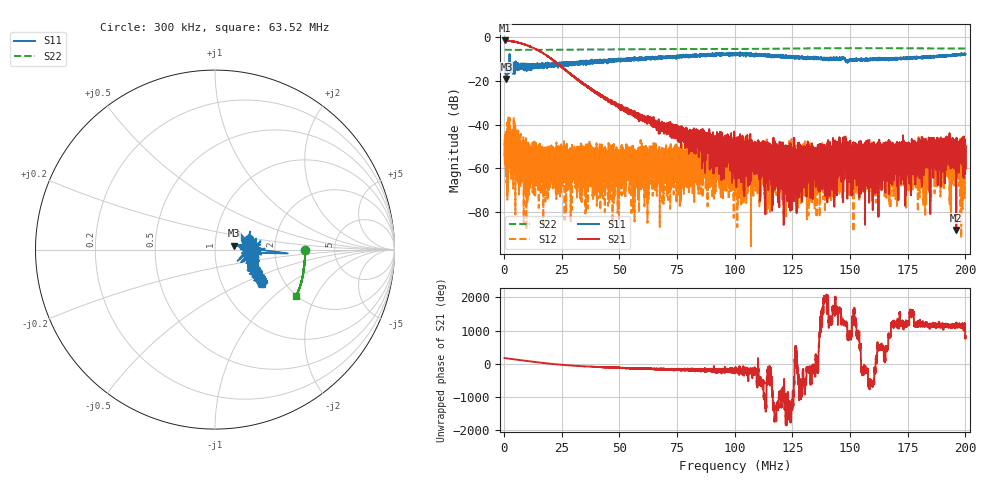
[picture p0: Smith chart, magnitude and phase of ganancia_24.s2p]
# Hz S DB R 50
! CMT, M5065, 19127446, 24.2.4/2
! Date: 11/8/2024 6:37:04 PM
! Data: Format (Calibration Info)
! Freq	S11:dB/Ang(F2)	S21:dB/Ang(F2)	S12:dB/Ang(F2)	S22:dB/Ang(F2)
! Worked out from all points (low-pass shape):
!   9000 points, 300 kHz to 200 MHz, reference 50 ohm
!   highest |S21| = -1.70 dB at 433.1 kHz (marker M1); lowest = -88.1 dB at 196 MHz (marker M2)
!   |S21| within 3 dB of the highest: start of sweep to 11.79 MHz; 11.79559 MHz to 11.852 MHz (56.41 kHz wide, 0.477 % of centre)
!   lowest |S11| = -19.3 dB at 1.077 MHz (marker M3), VSWR 1.24, Z = 61.9 + j2.83 ohm
!   |S11| at or under -10 dB: start of sweep to 2.446 MHz; 2.459 MHz to 49.58 MHz (47.13 MHz wide, 181 % of centre); 147.8 MHz to 152.7 MHz (4.892 MHz wide, 3.26 % of centre)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
!   |S22| runs from -6.0 to -5.2 dB; largest |S21 - S12| = 0.82
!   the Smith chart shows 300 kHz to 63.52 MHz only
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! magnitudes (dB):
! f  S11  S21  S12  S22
! 300 kHz  -14.1  -1.7  -54.6  -6.0
! 433.1 kHz  -12.4  -1.7  -46.4  -6.0
! 1.077 MHz  -19.3  -1.8  -63.8  -6.0
! 2.919 MHz  -12.8  -2.0  -61.7  -6.0
! 8.511 MHz  -12.7  -3.4  -55.0  -6.0
! 15.63 MHz  -13.6  -6.7  -49.3  -6.0
! 33.59 MHz  -11.7  -20.7  -57.9  -5.9
! 51.78 MHz  -10.4  -32.5  -54.4  -5.7
! 53.98 MHz  -10.0  -34.6  -54.7  -5.7
! 57.71 MHz  -10.0  -36.5  -57.8  -5.7
! 64.06 MHz  -9.7  -38.7  -50.1  -5.7
! 66.87 MHz  -9.3  -38.7  -59.3  -5.7
! 100.2 MHz  -8.1  -48.8  -57.3  -5.6
! 120.8 MHz  -9.0  -66.8  -65.0  -5.4
! 133.4 MHz  -9.6  -60.7  -57.0  -5.3
! 144.1 MHz  -9.9  -52.3  -61.0  -5.2
! 147.9 MHz  -10.0  -54.4  -54.5  -5.2
! 150.4 MHz  -10.9  -50.7  -48.9  -5.2
! 152.2 MHz  -10.3  -64.1  -61.0  -5.2
! 166.7 MHz  -10.0  -61.7  -52.8  -5.2
! 196 MHz  -8.3  -88.1  -53.8  -5.4
! 200 MHz  -7.9  -49.7  -59.3  -5.4
